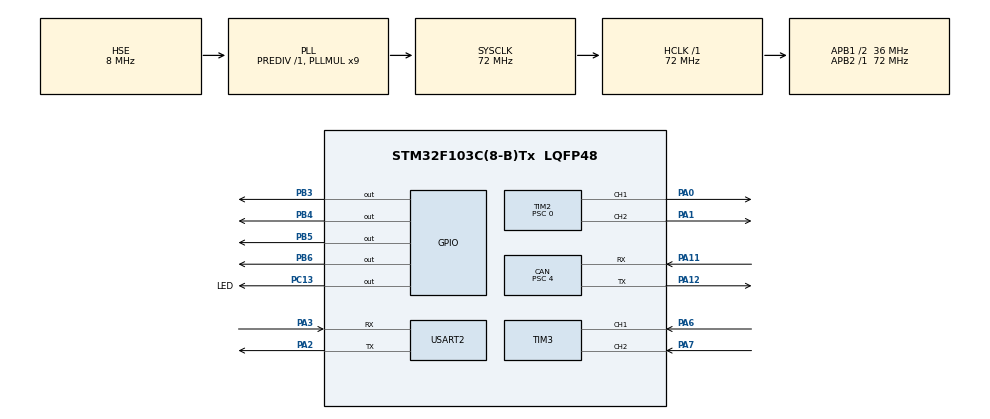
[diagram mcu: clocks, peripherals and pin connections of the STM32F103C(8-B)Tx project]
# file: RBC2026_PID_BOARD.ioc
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CAN.ABOM=ENABLE
CAN.BS1=CAN_BS1_13TQ
CAN.BS2=CAN_BS2_2TQ
CAN.CalculateBaudRate=562500
CAN.CalculateTimeBit=1777
CAN.CalculateTimeQuantum=111.11111111111111
CAN.Prescaler=4
Mcu.Family=STM32F1
Mcu.Name=STM32F103C(8-B)Tx
Mcu.Package=LQFP48
NVIC.PriorityGroup=NVIC_PRIORITYGROUP_4
NVIC.TIM2_IRQn=true\:0\:0\:false\:false\:true\:true\:true\:true
NVIC.TIM3_IRQn=true\:0\:0\:false\:false\:true\:true\:true\:true
NVIC.TIM4_IRQn=true\:0\:0\:false\:false\:true\:true\:true\:true
NVIC.USB_HP_CAN1_TX_IRQn=true\:0\:0\:false\:false\:true\:true\:true\:true
NVIC.USB_LP_CAN1_RX0_IRQn=true\:0\:0\:false\:false\:true\:true\:true\:true
PA0-WKUP.GPIO_Speed=GPIO_SPEED_FREQ_HIGH
PA0-WKUP.Signal=S_TIM2_CH1_ETR
PA1.GPIO_Speed=GPIO_SPEED_FREQ_HIGH
PA1.Signal=S_TIM2_CH2
PA11.Mode=CAN_Activate
PA11.Signal=CAN_RX
PA12.Mode=CAN_Activate
PA12.Signal=CAN_TX
PA13.Mode=Serial_Wire
PA13.Signal=SYS_JTMS-SWDIO
PA14.Mode=Serial_Wire
PA14.Signal=SYS_JTCK-SWCLK
PA2.Mode=Asynchronous
PA2.Signal=USART2_TX
PA3.Mode=Asynchronous
PA3.Signal=USART2_RX
PA6.GPIO_PuPd=GPIO_PULLUP
PA6.Signal=S_TIM3_CH1
PA7.GPIO_PuPd=GPIO_PULLUP
PA7.Signal=S_TIM3_CH2
PB3.Signal=GPIO_Output
PB4.Signal=GPIO_Output
PB5.Signal=GPIO_Output
PB6.Signal=GPIO_Output
PC13-TAMPER-RTC.GPIO_Label=LED
PC13-TAMPER-RTC.Signal=GPIO_Output
PD0-OSC_IN.Mode=HSE-External-Oscillator
PD0-OSC_IN.Signal=RCC_OSC_IN
PD1-OSC_OUT.Mode=HSE-External-Oscillator
PD1-OSC_OUT.Signal=RCC_OSC_OUT
ProjectManager.HeapSize=0x200
ProjectManager.StackSize=0x400
ProjectManager.TargetToolchain=STM32CubeIDE
RCC.AHBFreq_Value=72000000
RCC.APB1CLKDivider=RCC_HCLK_DIV2
RCC.APB1Freq_Value=36000000
RCC.APB1TimFreq_Value=72000000
RCC.APB2Freq_Value=72000000
RCC.APB2TimFreq_Value=72000000
RCC.HCLKFreq_Value=72000000
RCC.PLLMUL=RCC_PLL_MUL9
RCC.PLLSourceVirtual=RCC_PLLSOURCE_HSE
RCC.SYSCLKFreq_VALUE=72000000
RCC.SYSCLKSource=RCC_SYSCLKSOURCE_PLLCLK
RCC.USBFreq_Value=72000000
SH.S_TIM2_CH1_ETR.0=TIM2_CH1,PWM Generation1 CH1
SH.S_TIM2_CH2.0=TIM2_CH2,PWM Generation2 CH2
SH.S_TIM3_CH1.0=TIM3_CH1,Encoder_Interface
SH.S_TIM3_CH2.0=TIM3_CH2,Encoder_Interface
TIM2.Channel-PWM\ Generation1\ CH1=TIM_CHANNEL_1
TIM2.Channel-PWM\ Generation2\ CH2=TIM_CHANNEL_2
TIM2.OCFastMode_PWM-PWM\ Generation1\ CH1=TIM_OCFAST_ENABLE
TIM2.OCFastMode_PWM-PWM\ Generation2\ CH2=TIM_OCFAST_ENABLE
TIM2.Period=7199
TIM2.Prescaler=0
TIM3.EncoderMode=TIM_ENCODERMODE_TI12
TIM3.IC1Filter=4
TIM3.IC1Polarity=TIM_ICPOLARITY_RISING
TIM3.IC2Filter=4
TIM3.IC2Polarity=TIM_ICPOLARITY_FALLING
TIM4.Period=9999
TIM4.Prescaler=71
USART2.VirtualMode=VM_ASYNC
VP_TIM4_VS_ClockSourceINT.Mode=Internal
board=custom

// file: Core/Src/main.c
/* USER CODE BEGIN Header */
/**
 ******************************************************************************
 * @file           : main.c
 * @brief          : Main program body
 ******************************************************************************
 * @attention
 *
 * Copyright (c) 2025 STMicroelectronics.
 * All rights reserved.
 *
 * This software is licensed under terms that can be found in the LICENSE file
 * in the root directory of this software component.
 * If no LICENSE file comes with this software, it is provided AS-IS.
 *
 ******************************************************************************
 */
/* USER CODE END Header */
#include "main.h"

/* USER CODE BEGIN Includes */
#include "math.h"
/* USER CODE END Includes */

/* USER CODE BEGIN PTD */
typedef struct {
  volatile float gtht;
  volatile float er;
  volatile float pre_er;
  volatile float Kp;
  volatile float Kd;
  volatile float Ki;
  volatile float d;
  volatile float i;
} Pid_data;
typedef struct {
  volatile float speed;
  volatile long xung;
  volatile long xung_trc;
  volatile long xung_tmp;
  volatile long target_xung;   // Thêm biến lưu vị trí mục tiêu
  volatile uint8_t is_holding; // Cờ báo trạng thái đang giữ vị trí
} Encoder_data;

// Pid_data.Kd;

typedef struct {
  Pid_data *pPid_data;         // con trỏ tới struct pid_data
  Encoder_data *pEncoder_data; // con trỏ tới struct encoder_data
} PID_CONTROL;
// Pid->pPid_data.Kd
PID_CONTROL Pid;
// PID_CONTROL Goc;
/* USER CODE END PTD */

/* USER CODE BEGIN PD */
// 2 -999 xuong (giua)
// 1 -999 lui
// 3 -999 xuong (sau)
// 4 trai (1) nhin tu mach ra dau
// 5 giua (2)
// 6 phai (3)
/* USER CODE END PD */

CAN_HandleTypeDef hcan;

TIM_HandleTypeDef htim2;
TIM_HandleTypeDef htim3;
TIM_HandleTypeDef htim4;

UART_HandleTypeDef huart2;

/* USER CODE BEGIN PV */
uint8_t RxData[8];
CAN_RxHeaderTypeDef RxHeader;
int MAX_SPEED = 333;
int MAX_PWM = 7199;

float output, vt;
float tmp = 0;
float Delta_t = 0.01;
float Wd = 0, Ks = 3.2, Kg = 1;
volatile int Setpoint;

/* USER CODE END PV */

void SystemClock_Config(void);
static void MX_GPIO_Init(void);
static void MX_CAN_Init(void);
static void MX_TIM2_Init(void);
static void MX_TIM3_Init(void);
static void MX_USART2_UART_Init(void);
static void MX_TIM4_Init(void);

/* USER CODE BEGIN 0 */
// ID CHIP
// ////////////////////////////////////////////////////////////////////////////////////////////////////////
int id = 5;
/////////////////////////////////////////////////////////////////////////////////////////////////////////////////
uint8_t l = 0;
// uint8_t addr[6]={0x01, 0x02, 0x03, 0x04, 0x05, 0x06};

void HAL_CAN_RxFifo0MsgPendingCallback(CAN_HandleTypeDef *hcan) {
  if (HAL_CAN_GetRxMessage(hcan, CAN_RX_FIFO0, &RxHeader, RxData) == HAL_OK) {
    if (RxHeader.StdId == 0x123 || RxHeader.StdId == 0x124) {
      Setpoint = (RxData[6] - 7.5) * (RxData[id - 1] - 100);
      l = 1 - l;
      if (l)
        HAL_GPIO_TogglePin(GPIOC, GPIO_PIN_13);
      if (Setpoint >= MAX_SPEED)
        Setpoint = MAX_SPEED;
      if (Setpoint <= -MAX_SPEED)
        Setpoint = -MAX_SPEED;
    }
  }
}

void PID_Control(PID_CONTROL *pid, int setpoint) {
  static int prev_setpoint_input = 0;
  int active_setpoint = setpoint;

  // Tính tốc độ hiện tại
  pid->pEncoder_data->speed =
      (pid->pEncoder_data->xung - pid->pEncoder_data->xung_trc) /
      (1000.0f * Delta_t) * 60.0f;
  pid->pPid_data->gtht = pid->pEncoder_data->speed;

  // Kỹ thuật PID Cascade: Khi tốc độ yêu cầu = 0, chuyển sang PID Vị trí
  if (setpoint == 0) {
    // Vừa chuyển từ trạng thái chạy sang dừng -> chốt vị trí hiện tại
    if (prev_setpoint_input != 0) {
      pid->pEncoder_data->target_xung = pid->pEncoder_data->xung;
      pid->pEncoder_data->is_holding = 1;
    }

    if (pid->pEncoder_data->is_holding) {
      long pos_error =
          pid->pEncoder_data->target_xung - pid->pEncoder_data->xung;

      // Dùng bộ điều khiển P (Proportional) cho vị trí để sinh ra setpoint vận
      // tốc
      float K_pos =
          1.5f; // Hệ số P vị trí - có thể tăng/giảm để phản ứng mạnh/yếu
      active_setpoint = (int)(pos_error * K_pos);

      // Giới hạn vận tốc bù trừ để không giật mạnh (Max tốc bù là 100, max
      // speed xe là 333)
      if (active_setpoint > 100)
        active_setpoint = 100;
      if (active_setpoint < -100)
        active_setpoint = -100;

      // Deadband (chấp nhận sai số nhỏ để tránh dao động liên tục)
      if (pos_error >= -5 && pos_error <= 5) {
        active_setpoint = 0;
        pid->pPid_data->i = 0; // Xóa tích phân để động cơ nghỉ ngơi thực sự
      }
    }
  } else {
    // Đang có lệnh chạy tốc độ bình thường
    pid->pEncoder_data->is_holding = 0;
  }

  // Reset tích phân khi đảo chiều (active_setpoint đổi dấu)
  static int prev_active_setpoint = 0;
  if ((active_setpoint > 0 && prev_active_setpoint < 0) ||
      (active_setpoint < 0 && prev_active_setpoint > 0)) {
    pid->pPid_data->i = 0;
  }

  prev_setpoint_input = setpoint;
  prev_active_setpoint = active_setpoint;

  // --- Tính toán vòng PID Vận Tốc ---
  pid->pPid_data->er = active_setpoint - pid->pPid_data->gtht;
  pid->pPid_data->i += pid->pPid_data->er * Delta_t;

  if (pid->pPid_data->i > 3000)
    pid->pPid_data->i = 3000; // chống tích phân bão hòa
  else if (pid->pPid_data->i < -3000)
    pid->pPid_data->i = -3000;

  pid->pPid_data->d = (pid->pPid_data->er - pid->pPid_data->pre_er) / Delta_t;
  output = MAX_PWM *
           (pid->pPid_data->Kp * pid->pPid_data->er +
            pid->pPid_data->Kd * pid->pPid_data->d +
            pid->pPid_data->Ki * pid->pPid_data->i) /
           MAX_SPEED;
  pid->pEncoder_data->xung_trc = pid->pEncoder_data->xung;
  pid->pPid_data->pre_er = pid->pPid_data->er;
  if (output > MAX_PWM)
    output = MAX_PWM;
  else if (output < -MAX_PWM)
    output = -MAX_PWM;
}
// PID_Control cho ra output
void quay_thuan() {
  __HAL_TIM_SET_COMPARE(
      &htim2, TIM_CHANNEL_1,
      fabs(output)); //**__HAL_TIM_SET_COMPARE : set giá trị so sánh
  __HAL_TIM_SET_COMPARE(&htim2, TIM_CHANNEL_2, 0);
}
void quay_nghich() {
  __HAL_TIM_SET_COMPARE(&htim2, TIM_CHANNEL_2, fabs(output));
  __HAL_TIM_SET_COMPARE(&htim2, TIM_CHANNEL_1, 0);
}
void dung() {
  __HAL_TIM_SET_COMPARE(&htim2, TIM_CHANNEL_1, 0);
  __HAL_TIM_SET_COMPARE(&htim2, TIM_CHANNEL_2, 0);
}
void dk() {
  if (output >= 0)
    quay_thuan();
  else
    quay_nghich();
}

void HAL_TIM_PeriodElapsedCallback(TIM_HandleTypeDef *htim) {
  if (htim->Instance == TIM4) {
    // Đọc encoder bằng delta method — xử lý cả tràn số tự động nhờ ép kiểu
    // int16_t
    uint16_t cur = __HAL_TIM_GET_COUNTER(&htim3);
    int16_t delta = (int16_t)(cur - (uint16_t)Pid.pEncoder_data->xung_tmp);
    Pid.pEncoder_data->xung += delta;
    Pid.pEncoder_data->xung_tmp = cur;

    PID_Control(&Pid, Setpoint);
    dk();
  }
}

void PID_CONTROL_INIT(PID_CONTROL *Pid, Pid_data *pid_data,
                      Encoder_data *en_data) {
  Pid->pEncoder_data = en_data;
  Pid->pPid_data = pid_data;
}
/* USER CODE END 0 */

int main(void)
{

  /* USER CODE BEGIN 1 */

  Pid_data p_data = {0, 0, 0, 0.8, 0.001, 10, 0, 0}; // Kp=0.6, Ki=10, Kd=0.001
  Encoder_data e_data = {0, 0, 0, 0, 0, 0};
  /* USER CODE END 1 */

  /* MCU Configuration--------------------------------------------------------*/

  /* Reset of all peripherals, Initializes the Flash interface and the Systick. */
  HAL_Init();

  /* Configure the system clock */
  SystemClock_Config();

  /* Initialize all configured peripherals */
  MX_GPIO_Init();
  MX_CAN_Init();
  MX_TIM2_Init();
  MX_TIM3_Init();
  MX_USART2_UART_Init();
  MX_TIM4_Init();
  /* USER CODE BEGIN 2 */

  // Khởi động CAN
  if (HAL_CAN_Start(&hcan) != HAL_OK)
    Error_Handler();
  HAL_CAN_ActivateNotification(&hcan, CAN_IT_RX_FIFO0_MSG_PENDING);

  HAL_TIM_PWM_Start(&htim2, TIM_CHANNEL_1);
  HAL_TIM_PWM_Start(&htim2, TIM_CHANNEL_2);
  PID_CONTROL_INIT(&Pid, &p_data, &e_data);
  HAL_TIM_Encoder_Start(&htim3,
                        TIM_CHANNEL_ALL); // Dùng Start thường, không cần IT
  HAL_TIM_Base_Start_IT(&htim4);

  /* USER CODE END 2 */

  /* Infinite loop */
  while (1) {

    /* USER CODE BEGIN 3 */

    //	  Setpoint=150;
    // HAL_GPIO_TogglePin(GPIOC, GPIO_PIN_13);
    // HAL_Delay(200);
  }
  /* USER CODE END 3 */
}

void SystemClock_Config(void)
{
  RCC_OscInitTypeDef RCC_OscInitStruct = {0};
  RCC_ClkInitTypeDef RCC_ClkInitStruct = {0};

  /** Initializes the RCC Oscillators according to the specified parameters
  * in the RCC_OscInitTypeDef structure.
  */
  RCC_OscInitStruct.OscillatorType = RCC_OSCILLATORTYPE_HSE;
  RCC_OscInitStruct.HSEState = RCC_HSE_ON;
  RCC_OscInitStruct.HSEPredivValue = RCC_HSE_PREDIV_DIV1;
  RCC_OscInitStruct.HSIState = RCC_HSI_ON;
  RCC_OscInitStruct.PLL.PLLState = RCC_PLL_ON;
  RCC_OscInitStruct.PLL.PLLSource = RCC_PLLSOURCE_HSE;
  RCC_OscInitStruct.PLL.PLLMUL = RCC_PLL_MUL9;
  if (HAL_RCC_OscConfig(&RCC_OscInitStruct) != HAL_OK)
  {
    Error_Handler();
  }

  /** Initializes the CPU, AHB and APB buses clocks
  */
  RCC_ClkInitStruct.ClockType = RCC_CLOCKTYPE_HCLK|RCC_CLOCKTYPE_SYSCLK
                              |RCC_CLOCKTYPE_PCLK1|RCC_CLOCKTYPE_PCLK2;
  RCC_ClkInitStruct.SYSCLKSource = RCC_SYSCLKSOURCE_PLLCLK;
  RCC_ClkInitStruct.AHBCLKDivider = RCC_SYSCLK_DIV1;
  RCC_ClkInitStruct.APB1CLKDivider = RCC_HCLK_DIV2;
  RCC_ClkInitStruct.APB2CLKDivider = RCC_HCLK_DIV1;

  if (HAL_RCC_ClockConfig(&RCC_ClkInitStruct, FLASH_LATENCY_2) != HAL_OK)
  {
    Error_Handler();
  }
}

static void MX_CAN_Init(void)
{

  hcan.Instance = CAN1;
  hcan.Init.Prescaler = 4;
  hcan.Init.Mode = CAN_MODE_NORMAL;
  hcan.Init.SyncJumpWidth = CAN_SJW_1TQ;
  hcan.Init.TimeSeg1 = CAN_BS1_13TQ;
  hcan.Init.TimeSeg2 = CAN_BS2_2TQ;
  hcan.Init.TimeTriggeredMode = DISABLE;
  hcan.Init.AutoBusOff = ENABLE;
  hcan.Init.AutoWakeUp = DISABLE;
  hcan.Init.AutoRetransmission = DISABLE;
  hcan.Init.ReceiveFifoLocked = DISABLE;
  hcan.Init.TransmitFifoPriority = DISABLE;
  if (HAL_CAN_Init(&hcan) != HAL_OK)
  {
    Error_Handler();
  }
  /* USER CODE BEGIN CAN_Init 2 */
  //  hcan.Init.Mode = CAN_MODE_NORMAL;
  //  if (id == 1) {
  //      hcan.Init.Mode = CAN_MODE_NORMAL;
  //    } else {
  //      hcan.Init.Mode = CAN_MODE_SILENT;
  //    }
  CAN_FilterTypeDef sFilterConfig;
  sFilterConfig.FilterBank = 0; // Bank 0 cho CAN1
  sFilterConfig.FilterMode = CAN_FILTERMODE_IDMASK;
  sFilterConfig.FilterScale = CAN_FILTERSCALE_32BIT;
  sFilterConfig.FilterIdHigh = 0x123
                               << 5; // ID của transmitter (0x123 << 5 = 0x910)
  sFilterConfig.FilterIdLow = 0x0000;
  //  sFilterConfig.FilterMaskIdHigh = 0x0000;  // Mask chặt chẽ cho std ID
  //  (thay 0xFFFF nếu muốn loose)
  sFilterConfig.FilterMaskIdHigh =
      0x0000; // Đổi thành 0x0000 để nhận mọi ID (0x123, 0x124,...)
  sFilterConfig.FilterMaskIdLow = 0x0000;
  sFilterConfig.FilterFIFOAssignment = CAN_RX_FIFO0;
  sFilterConfig.FilterActivation = ENABLE; // BẮT BUỘC ENABLE!

  if (HAL_CAN_ConfigFilter(&hcan, &sFilterConfig) != HAL_OK) {
    Error_Handler(); // Thêm: Báo lỗi nếu filter fail
  }
  //  hcan.Instance->BTR |= CAN_BTR_SILM;
  /* USER CODE END CAN_Init 2 */

}

static void MX_TIM2_Init(void)
{

  TIM_MasterConfigTypeDef sMasterConfig = {0};
  TIM_OC_InitTypeDef sConfigOC = {0};

  htim2.Instance = TIM2;
  htim2.Init.Prescaler = 0;
  htim2.Init.CounterMode = TIM_COUNTERMODE_UP;
  htim2.Init.Period = 7199;
  htim2.Init.ClockDivision = TIM_CLOCKDIVISION_DIV1;
  htim2.Init.AutoReloadPreload = TIM_AUTORELOAD_PRELOAD_DISABLE;
  if (HAL_TIM_PWM_Init(&htim2) != HAL_OK)
  {
    Error_Handler();
  }
  sMasterConfig.MasterOutputTrigger = TIM_TRGO_RESET;
  sMasterConfig.MasterSlaveMode = TIM_MASTERSLAVEMODE_DISABLE;
  if (HAL_TIMEx_MasterConfigSynchronization(&htim2, &sMasterConfig) != HAL_OK)
  {
    Error_Handler();
  }
  sConfigOC.OCMode = TIM_OCMODE_PWM1;
  sConfigOC.Pulse = 0;
  sConfigOC.OCPolarity = TIM_OCPOLARITY_HIGH;
  sConfigOC.OCFastMode = TIM_OCFAST_ENABLE;
  if (HAL_TIM_PWM_ConfigChannel(&htim2, &sConfigOC, TIM_CHANNEL_1) != HAL_OK)
  {
    Error_Handler();
  }
  if (HAL_TIM_PWM_ConfigChannel(&htim2, &sConfigOC, TIM_CHANNEL_2) != HAL_OK)
  {
    Error_Handler();
  }
  HAL_TIM_MspPostInit(&htim2);

}

static void MX_TIM3_Init(void)
{

  TIM_Encoder_InitTypeDef sConfig = {0};
  TIM_MasterConfigTypeDef sMasterConfig = {0};

  htim3.Instance = TIM3;
  htim3.Init.Prescaler = 0;
  htim3.Init.CounterMode = TIM_COUNTERMODE_UP;
  htim3.Init.Period = 65535;
  htim3.Init.ClockDivision = TIM_CLOCKDIVISION_DIV1;
  htim3.Init.AutoReloadPreload = TIM_AUTORELOAD_PRELOAD_DISABLE;
  sConfig.EncoderMode = TIM_ENCODERMODE_TI12;
  sConfig.IC1Polarity = TIM_ICPOLARITY_RISING;
  sConfig.IC1Selection = TIM_ICSELECTION_DIRECTTI;
  sConfig.IC1Prescaler = TIM_ICPSC_DIV1;
  sConfig.IC1Filter = 4;
  sConfig.IC2Polarity = TIM_ICPOLARITY_FALLING;
  sConfig.IC2Selection = TIM_ICSELECTION_DIRECTTI;
  sConfig.IC2Prescaler = TIM_ICPSC_DIV1;
  sConfig.IC2Filter = 4;
  if (HAL_TIM_Encoder_Init(&htim3, &sConfig) != HAL_OK)
  {
    Error_Handler();
  }
  sMasterConfig.MasterOutputTrigger = TIM_TRGO_RESET;
  sMasterConfig.MasterSlaveMode = TIM_MASTERSLAVEMODE_DISABLE;
  if (HAL_TIMEx_MasterConfigSynchronization(&htim3, &sMasterConfig) != HAL_OK)
  {
    Error_Handler();
  }

}

static void MX_TIM4_Init(void)
{

  TIM_ClockConfigTypeDef sClockSourceConfig = {0};
  TIM_MasterConfigTypeDef sMasterConfig = {0};

  htim4.Instance = TIM4;
  htim4.Init.Prescaler = 71;
  htim4.Init.CounterMode = TIM_COUNTERMODE_UP;
  htim4.Init.Period = 9999;
  htim4.Init.ClockDivision = TIM_CLOCKDIVISION_DIV1;
  htim4.Init.AutoReloadPreload = TIM_AUTORELOAD_PRELOAD_DISABLE;
  if (HAL_TIM_Base_Init(&htim4) != HAL_OK)
  {
    Error_Handler();
  }
  sClockSourceConfig.ClockSource = TIM_CLOCKSOURCE_INTERNAL;
  if (HAL_TIM_ConfigClockSource(&htim4, &sClockSourceConfig) != HAL_OK)
  {
    Error_Handler();
  }
  sMasterConfig.MasterOutputTrigger = TIM_TRGO_RESET;
  sMasterConfig.MasterSlaveMode = TIM_MASTERSLAVEMODE_DISABLE;
  if (HAL_TIMEx_MasterConfigSynchronization(&htim4, &sMasterConfig) != HAL_OK)
  {
    Error_Handler();
  }

}

static void MX_USART2_UART_Init(void)
{

  huart2.Instance = USART2;
  huart2.Init.BaudRate = 115200;
  huart2.Init.WordLength = UART_WORDLENGTH_8B;
  huart2.Init.StopBits = UART_STOPBITS_1;
  huart2.Init.Parity = UART_PARITY_NONE;
  huart2.Init.Mode = UART_MODE_TX_RX;
  huart2.Init.HwFlowCtl = UART_HWCONTROL_NONE;
  huart2.Init.OverSampling = UART_OVERSAMPLING_16;
  if (HAL_UART_Init(&huart2) != HAL_OK)
  {
    Error_Handler();
  }

}

static void MX_GPIO_Init(void)
{
  GPIO_InitTypeDef GPIO_InitStruct = {0};

  /* GPIO Ports Clock Enable */
  __HAL_RCC_GPIOC_CLK_ENABLE();
  __HAL_RCC_GPIOD_CLK_ENABLE();
  __HAL_RCC_GPIOA_CLK_ENABLE();
  __HAL_RCC_GPIOB_CLK_ENABLE();

  /*Configure GPIO pin Output Level */
  HAL_GPIO_WritePin(LED_GPIO_Port, LED_Pin, GPIO_PIN_RESET);

  /*Configure GPIO pin Output Level */
  HAL_GPIO_WritePin(GPIOB, GPIO_PIN_3|GPIO_PIN_4|GPIO_PIN_5|GPIO_PIN_6, GPIO_PIN_RESET);

  /*Configure GPIO pin : LED_Pin */
  GPIO_InitStruct.Pin = LED_Pin;
  GPIO_InitStruct.Mode = GPIO_MODE_OUTPUT_PP;
  GPIO_InitStruct.Pull = GPIO_NOPULL;
  GPIO_InitStruct.Speed = GPIO_SPEED_FREQ_LOW;
  HAL_GPIO_Init(LED_GPIO_Port, &GPIO_InitStruct);

  /*Configure GPIO pins : PB3 PB4 PB5 PB6 */
  GPIO_InitStruct.Pin = GPIO_PIN_3|GPIO_PIN_4|GPIO_PIN_5|GPIO_PIN_6;
  GPIO_InitStruct.Mode = GPIO_MODE_OUTPUT_PP;
  GPIO_InitStruct.Pull = GPIO_NOPULL;
  GPIO_InitStruct.Speed = GPIO_SPEED_FREQ_LOW;
  HAL_GPIO_Init(GPIOB, &GPIO_InitStruct);

}

void Error_Handler(void)
{
  __disable_irq();
  while (1) {
  }
}
#ifdef USE_FULL_ASSERT
/**
  * @brief  Reports the name of the source file and the source line number
  *         where the assert_param error has occurred.
  * @param  file: pointer to the source file name
  * @param  line: assert_param error line source number
  * @retval None
  */
void assert_failed(uint8_t *file, uint32_t line)
{
  /* USER CODE BEGIN 6 */
  /* User can add his own implementation to report the file name and line
     number, ex: printf("Wrong parameters value: file %s on line %d\r\n", file,
     line) */
  /* USER CODE END 6 */
}
#endif /* USE_FULL_ASSERT */
